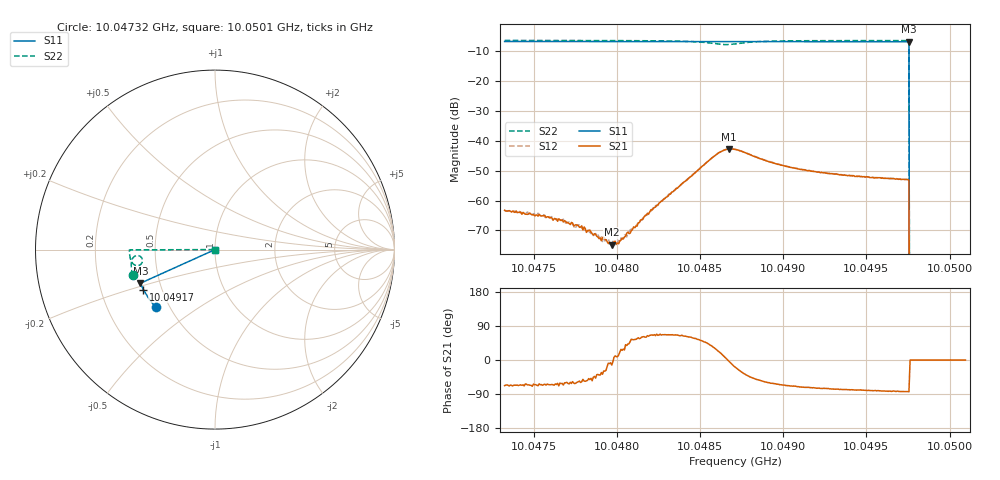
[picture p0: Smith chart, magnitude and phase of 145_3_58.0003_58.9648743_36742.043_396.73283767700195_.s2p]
#  HZ  S  RI  R  50.00
! Rohde & Schwarz Vector Network Analyzer
! Rohde-Schwarz,ZNB20-2Port,1311601062101988,3.16
! Created: UTC 3/21/2024, 12:56:48 AM
! freq[Hz]  re:S11  im:S11  re:S21  im:S21  re:S12  im:S12  re:S22  im:S22
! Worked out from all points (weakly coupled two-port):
!   401 points, 10.04732 GHz to 10.0501 GHz, reference 50 ohm
!   highest |S21| = -42.71 dB at 10.04867 GHz (marker M1); lowest = -74.7 dB at 10.04797 GHz (marker M2)
!   lowest |S11| = -6.8 dB at 10.04976 GHz (marker M3), VSWR 2.68, Z = 19.4 - j9.19 ohm
!   |S11| at or under -10 dB: 10.04976 GHz to end of sweep
!   |S22| runs from - to -6.4 dB; largest |S21 - S12| = 0.00052
!   S11 on the Smith chart (normalised r, x): 10.04732 GHz: 0.42, -0.34; 10.04917 GHz: 0.39, -0.22; 10.0501 GHz: 1.00, +0.00
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1.0047322e10  -0.329 -0.3219  0.000263 -0.000635  0.000321 -0.000615  -0.4567 -0.1435
1.0047544e10  -0.3388 -0.3108  0.000235 -0.000501  0.000264 -0.000478  -0.4607 -0.1282
1.0047606e10  -0.3415 -0.3077  0.00022 -0.000465  0.000245 -0.000482  -0.4617 -0.1239
1.0047787e10  -0.3491 -0.2983  0.000206 -0.000317  0.000207 -0.000275  -0.4644 -0.1106
1.0047891e10  -0.3534 -0.293  0.000178 -0.000146  0.00021 -0.00013  -0.4655 -0.1026
1.0047925e10  -0.3549 -0.2911  0.000199 -0.000112  0.000184 -0.000103  -0.4658 -0.0999
1.0047953e10  -0.3558 -0.2896  0.000199 -3.27e-05  0.000193 -3.06e-05  -0.4662 -0.0975
1.0047967e10  -0.3565 -0.2891  0.000179 -4.24e-05  0.000179 -2.53e-05  -0.4662 -0.0965
1.0048008e10  -0.3582 -0.2867  0.000185 4.32e-05  0.000205 6.47e-05  -0.4667 -0.0929
1.0048251e10  -0.3676 -0.274  0.000368 0.000827  0.000312 0.000846  -0.4664 -0.0702
1.0048584e10  -0.3794 -0.2551  0.00472 0.00296  0.00453 0.00324  -0.4236 -0.0345
1.0048633e10  -0.381 -0.2524  0.00657 0.00164  0.0065 0.00206  -0.4077 -0.047
1.0048674e10  -0.3822 -0.2504  0.0073 -0.000551  0.00737 -8.59e-05  -0.4045 -0.0662
1.0048709e10  -0.3834 -0.2487  0.00681 -0.00228  0.00702 -0.00185  -0.4117 -0.0801
1.0048951e10  -0.392 -0.235  0.00191 -0.00368  0.00212 -0.00363  -0.463 -0.0711
1.0049166e10  -0.399 -0.2227  0.000913 -0.00296  0.00109 -0.00297  -0.472 -0.0487
1.0049173e10  -0.3992 -0.2221  0.000887 -0.00297  0.00108 -0.00294  -0.4722 -0.0479
1.0049638e10  -0.4126 -0.1945  0.000324 -0.0023  0.000476 -0.00231  -0.4765 -0.0103
1.0049742e10  -0.4151 -0.1883  0.000261 -0.00224  0.000369 -0.00224  -0.4767 -0.0025
1.0049756e10  -0.4155 -0.1874  0.000236 -0.00219  0.000382 -0.00222  -0.4767 -0.00151
1.0049777e10  0 0  0 0  0 0  0 0
1.0050096e10  0 0  0 0  0 0  0 0
